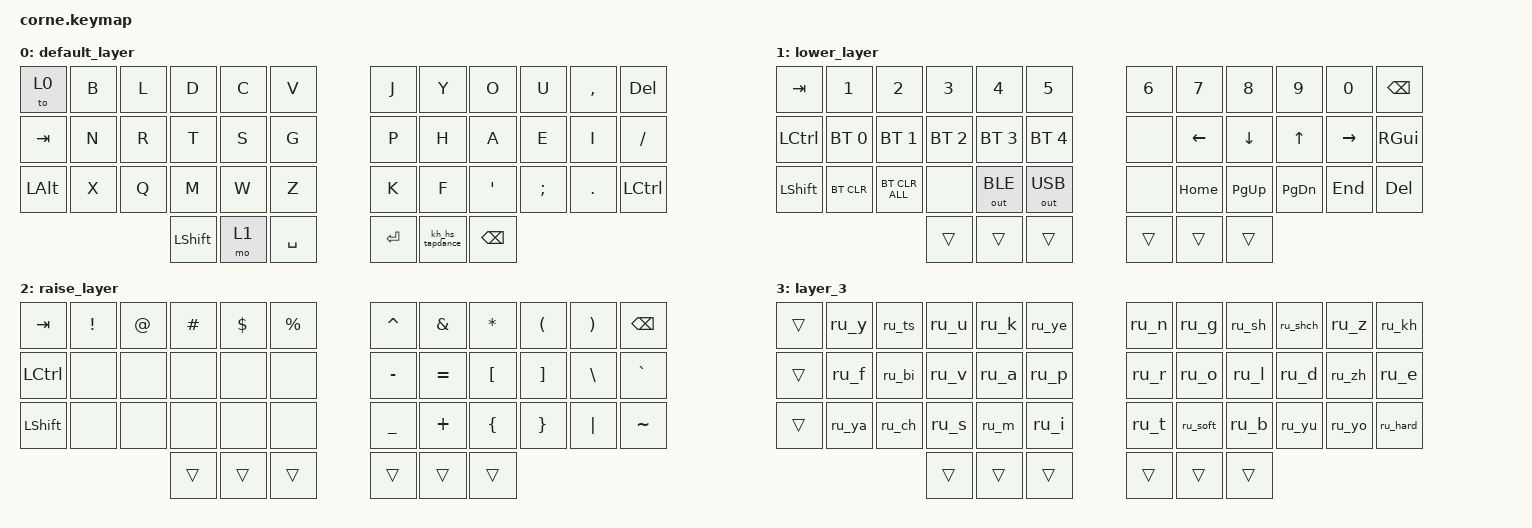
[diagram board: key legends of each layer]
/*
 * Copyright (c) 2020 The ZMK Contributors
 *
 * SPDX-License-Identifier: MIT
 */

#include <behaviors.dtsi>
#include <dt-bindings/zmk/bt.h>
#include <dt-bindings/zmk/keys.h>
#include <dt-bindings/zmk/outputs.h>


#define HOST_OS 1

#include "zmk-helpers/helper.h"
#include "zmk-helpers/unicode-chars/russian.dtsi"

/ {
    combos {
        compatible = "zmk,combos";

        combo_esc {
            timeout-ms = <50>;
            key-positions = <0 1>;
            bindings = <&kp ESC>;
        };
    };

    behaviors {
        ss_hs_modmorph: ss_hs_modmorph {
            compatible = "zmk,behavior-mod-morph";
            label = "SS_HS_MODMORPH";
            bindings = <&kp M>, <&kp RIGHT_BRACKET>;

            #binding-cells = <0>;
            mods = <(MOD_LSFT|MOD_RSFT)>;
        };

        kh_hs_tapdance: kh_hs_tapdance {
            compatible = "zmk,behavior-tap-dance";
            label = "KH_HS_TAPDANCE";
            #binding-cells = <0>;
            tapping-term-ms = <200>;
            bindings = <&mo 2>, <&to 3>;
        };

        hrm: hrm {
            compatible = "zmk,behavior-hold-tap";
            #binding-cells = <2>;
            flavor = "tap-preferred";
            tapping-term-ms = <200>;
            quick-tap-ms = <200>;
            require-prior-idle-ms = <125>;
            bindings = <&kp>, <&kp>;
        };
    };

    keymap {
        compatible = "zmk,keymap";

        default_layer {
            // -----------------------------------------------------------------------------------------
            // |  TAB |  Q  |  W  |  E  |  R  |  T  |   |  Y  |  U   |  I  |  O  |  P  | BKSP |
            // | CTRL |  A  |  S  |  D  |  F  |  G  |   |  H  |  J   |  K  |  L  |  ;  |  '   |
            // | SHFT |  Z  |  X  |  C  |  V  |  B  |   |  N  |  M   |  ,  |  .  |  /  | ESC  |
            //                    | GUI | LWR | SPC |   | ENT | RSE  | ALT |

            bindings = <
&to 0         &kp B  &kp L  &kp D       &kp C  &kp V        &kp J    &kp Y            &kp O          &kp U          &kp COMMA   &kp DELETE
&kp TAB       &kp N  &kp R  &kp T       &kp S  &kp G        &kp P    &kp H            &kp A          &kp E          &kp I       &kp SLASH
&kp LEFT_ALT  &kp X  &kp Q  &kp M       &kp W  &kp Z        &kp K    &kp F            &kp SQT        &kp SEMICOLON  &kp PERIOD  &kp LEFT_CONTROL
                            &kp LSHIFT  &mo 1  &kp SPACE    &kp RET  &kh_hs_tapdance  &kp BACKSPACE
            >;
        };

        lower_layer {
            // -----------------------------------------------------------------------------------------
            // |  TAB |  1  |  2  |  3  |  4  |  5  |   |  6  |  7  |  8  |  9  |  0  | BKSP |
            // | BTCLR| BT1 | BT2 | BT3 | BT4 | BT5 |   | LFT | DWN |  UP | RGT |     |      |
            // | SHFT |     |     |     |     |     |   |     |     |     |     |     |      |
            //                    | GUI |     | SPC |   | ENT |     | ALT |

            bindings = <
&kp TAB           &kp N1        &kp N2          &kp N3        &kp N4        &kp N5          &kp N6  &kp N7    &kp N8       &kp N9         &kp N0     &kp BSPC
&kp LEFT_CONTROL  &bt BT_SEL 0  &bt BT_SEL 1    &bt BT_SEL 2  &bt BT_SEL 3  &bt BT_SEL 4    &none   &kp LEFT  &kp DOWN     &kp UP         &kp RIGHT  &kp RIGHT_GUI
&kp LSHFT         &bt BT_CLR    &bt BT_CLR_ALL  &none         &out OUT_BLE  &out OUT_USB    &none   &kp HOME  &kp PAGE_UP  &kp PAGE_DOWN  &kp END    &kp DELETE
                                                &trans        &trans        &trans          &trans  &trans    &trans
            >;
        };

        raise_layer {
            // -----------------------------------------------------------------------------------------
            // |  TAB |  !  |  @  |  #  |  $  |  %  |   |  ^  |  &  |  *  |  (  |  )  | BKSP |
            // | CTRL |     |     |     |     |     |   |  -  |  =  |  [  |  ]  |  \  |  `   |
            // | SHFT |     |     |     |     |     |   |  _  |  +  |  {  |  }  | "|" |  ~   |
            //                    | GUI |     | SPC |   | ENT |     | ALT |

            bindings = <
&kp TAB    &kp EXCL  &kp AT  &kp HASH  &kp DLLR  &kp PRCNT    &kp CARET  &kp AMPS   &kp ASTRK  &kp LPAR  &kp RPAR  &kp BSPC
&kp LCTRL  &none     &none   &none     &none     &none        &kp MINUS  &kp EQUAL  &kp LBKT   &kp RBKT  &kp BSLH  &kp GRAVE
&kp LSHFT  &none     &none   &none     &none     &none        &kp UNDER  &kp PLUS   &kp LBRC   &kp RBRC  &kp PIPE  &kp TILDE
                             &trans    &trans    &trans       &trans     &trans     &trans
            >;
        };

        layer_3 {
            bindings = <
&trans  &ru_y   &ru_ts  &ru_u   &ru_k   &ru_ye    &ru_n   &ru_g     &ru_sh  &ru_shch  &ru_z   &ru_kh
&trans  &ru_f   &ru_bi  &ru_v   &ru_a   &ru_p     &ru_r   &ru_o     &ru_l   &ru_d     &ru_zh  &ru_e
&trans  &ru_ya  &ru_ch  &ru_s   &ru_m   &ru_i     &ru_t   &ru_soft  &ru_b   &ru_yu    &ru_yo  &ru_hard
                        &trans  &trans  &trans    &trans  &trans    &trans
            >;
        };
    };
};
